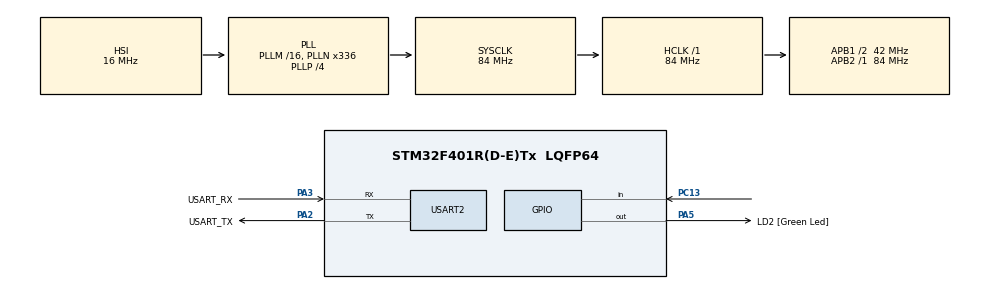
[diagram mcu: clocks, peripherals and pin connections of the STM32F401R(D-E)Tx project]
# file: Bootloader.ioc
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Mcu.Family=STM32F4
Mcu.Name=STM32F401R(D-E)Tx
Mcu.Package=LQFP64
NVIC.PriorityGroup=NVIC_PRIORITYGROUP_4
PA13.GPIO_Label=TMS
PA13.Mode=Serial_Wire
PA13.Signal=SYS_JTMS-SWDIO
PA14.GPIO_Label=TCK
PA14.Mode=Serial_Wire
PA14.Signal=SYS_JTCK-SWCLK
PA2.GPIO_Label=USART_TX
PA2.GPIO_Mode=GPIO_MODE_AF_PP
PA2.GPIO_PuPd=GPIO_NOPULL
PA2.GPIO_Speed=GPIO_SPEED_FREQ_LOW
PA2.Mode=Asynchronous
PA2.Signal=USART2_TX
PA3.GPIO_Label=USART_RX
PA3.GPIO_Mode=GPIO_MODE_AF_PP
PA3.GPIO_PuPd=GPIO_NOPULL
PA3.GPIO_Speed=GPIO_SPEED_FREQ_LOW
PA3.Mode=Asynchronous
PA3.Signal=USART2_RX
PA5.GPIO_Label=LD2 [Green Led]
PA5.GPIO_Mode=GPIO_MODE_OUTPUT_PP
PA5.GPIO_PuPd=GPIO_NOPULL
PA5.GPIO_Speed=GPIO_SPEED_FREQ_LOW
PA5.Signal=GPIO_Output
PB3.GPIO_Label=SWO
PB3.Signal=SYS_JTDO-SWO
PC13-ANTI_TAMP.Signal=GPIO_Input
PC14-OSC32_IN.Mode=LSE-External-Oscillator
PC14-OSC32_IN.Signal=RCC_OSC32_IN
PC15-OSC32_OUT.Mode=LSE-External-Oscillator
PC15-OSC32_OUT.Signal=RCC_OSC32_OUT
PH0\ -\ OSC_IN.Mode=HSE-External-Clock-Source
PH0\ -\ OSC_IN.Signal=RCC_OSC_IN
PH1\ -\ OSC_OUT.Mode=HSE-External-Clock-Source
PH1\ -\ OSC_OUT.Signal=RCC_OSC_OUT
ProjectManager.HeapSize=0x200
ProjectManager.StackSize=0x400
ProjectManager.TargetToolchain=STM32CubeIDE
RCC.48MHZClocksFreq_Value=48000000
RCC.AHBFreq_Value=84000000
RCC.APB1CLKDivider=RCC_HCLK_DIV2
RCC.APB1Freq_Value=42000000
RCC.APB1TimFreq_Value=84000000
RCC.APB2Freq_Value=84000000
RCC.APB2TimFreq_Value=84000000
RCC.CortexFreq_Value=84000000
RCC.HCLKFreq_Value=84000000
RCC.HSE_VALUE=8000000
RCC.HSI_VALUE=16000000
RCC.PLLN=336
RCC.PLLP=RCC_PLLP_DIV4
RCC.PLLQ=7
RCC.SYSCLKFreq_VALUE=84000000
RCC.SYSCLKSource=RCC_SYSCLKSOURCE_PLLCLK
RCC.VCOOutputFreq_Value=336000000
USART2.VirtualMode=VM_ASYNC
board=NUCLEO-F401RE

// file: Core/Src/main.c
/* USER CODE BEGIN Header */
/**
  ******************************************************************************
  * @file           : main.c
  * @brief          : Main program body - A/B bootloader with CRC update check
  ******************************************************************************
  */
/* USER CODE END Header */

#include "main.h"
#include <stdio.h>
#include <string.h>
#include "boot_jump.h"
#include "flash_if.h"
#include "metadata_if.h"
#include "crc_if.h"

UART_HandleTypeDef huart2;

void SystemClock_Config(void);
static void MX_GPIO_Init(void);
static void MX_USART2_UART_Init(void);

/* USER CODE BEGIN 0 */

int __io_putchar(int ch)
{
    HAL_UART_Transmit(&huart2, (uint8_t *)&ch, 1, HAL_MAX_DELAY);
    return ch;
}

static uint8_t is_user_button_pressed(void)
{
    return HAL_GPIO_ReadPin(GPIOC, GPIO_PIN_13) == GPIO_PIN_RESET;
}

static uint32_t read_u32_le(uint8_t *bytes)
{
    return  ((uint32_t)bytes[0]) |
            ((uint32_t)bytes[1] << 8) |
            ((uint32_t)bytes[2] << 16) |
            ((uint32_t)bytes[3] << 24);
}

static uint8_t is_valid_stack_pointer(uint32_t sp)
{
    return (sp >= 0x20000000U && sp <= 0x20018000U);
}

static uint8_t is_valid_reset_vector_for_slot(uint32_t reset_vector,
                                              uint32_t slot_address,
                                              uint32_t slot_size)
{
    return (reset_vector >= slot_address &&
            reset_vector < (slot_address + slot_size));
}

static void print_metadata(void)
{
    boot_metadata_t metadata;

    Metadata_Read(&metadata);

    if (!Metadata_IsValid(&metadata))
    {
        printf("Metadata: INVALID / EMPTY\r\n");
        return;
    }

    printf("Metadata: VALID\r\n");
    printf("Active slot: %s\r\n", Metadata_SlotName(metadata.active_slot));
    printf("Slot A state: %s\r\n", Metadata_StateName(metadata.slot_a_state));
    printf("Slot B state: %s\r\n", Metadata_StateName(metadata.slot_b_state));
    printf("Slot A size: %lu bytes\r\n", metadata.slot_a_size);
    printf("Slot B size: %lu bytes\r\n", metadata.slot_b_size);
    printf("Boot attempts: %lu\r\n", metadata.boot_attempts);
}

static void handle_update_command(uint8_t fixed_slot_mode, uint32_t fixed_slot)
{
    boot_metadata_t metadata;

    uint8_t size_bytes[4];
    uint8_t crc_bytes[4];

    uint32_t file_size = 0;
    uint32_t expected_crc = 0;
    uint32_t actual_crc = 0;

    uint32_t received = 0;
    uint8_t buffer[128];

    uint32_t target_slot = 0;
    uint32_t target_address = 0;
    uint32_t target_size = 0;

    uint32_t first_word = 0;
    uint32_t reset_vector = 0;

    uint8_t failed = 0;

    Metadata_Read(&metadata);

    if (!Metadata_IsValid(&metadata))
    {
        printf("Metadata invalid. Initializing default metadata...\r\n");

        if (Metadata_InitDefault() != HAL_OK)
        {
            printf("Metadata init failed\r\n");
            failed = 1;
        }

        Metadata_Read(&metadata);
    }

    if (!failed)
    {
        printf("Current active slot: %s\r\n", Metadata_SlotName(metadata.active_slot));

        if (fixed_slot_mode)
        {
            target_slot = fixed_slot;
        }
        else
        {
            if (metadata.active_slot == BOOT_SLOT_A)
            {
                target_slot = BOOT_SLOT_B;
            }
            else if (metadata.active_slot == BOOT_SLOT_B)
            {
                target_slot = BOOT_SLOT_A;
            }
            else
            {
                printf("Invalid active slot in metadata\r\n");
                failed = 1;
            }
        }
    }

    if (!failed)
    {
        if (target_slot == BOOT_SLOT_A)
        {
            target_address = SLOT_A_ADDRESS;
            target_size = SLOT_A_SIZE;
            printf("Target update slot: SLOT_A\r\n");
        }
        else if (target_slot == BOOT_SLOT_B)
        {
            target_address = SLOT_B_ADDRESS;
            target_size = SLOT_B_SIZE;
            printf("Target update slot: SLOT_B\r\n");
        }
        else
        {
            printf("Invalid target slot\r\n");
            failed = 1;
        }
    }

    if (!failed)
    {
        printf("Send file size as 4 bytes...\r\n");

        if (HAL_UART_Receive(&huart2, size_bytes, 4, HAL_MAX_DELAY) != HAL_OK)
        {
            printf("Failed to receive file size\r\n");
            failed = 1;
        }
        else
        {
            file_size = read_u32_le(size_bytes);

            printf("Received file size: %lu bytes\r\n", file_size);

            if (file_size == 0 || file_size > target_size)
            {
                printf("Invalid file size\r\n");
                failed = 1;
            }
        }
    }

    if (!failed)
    {
        printf("Send expected CRC32 as 4 bytes...\r\n");

        if (HAL_UART_Receive(&huart2, crc_bytes, 4, HAL_MAX_DELAY) != HAL_OK)
        {
            printf("Failed to receive CRC32\r\n");
            failed = 1;
        }
        else
        {
            expected_crc = read_u32_le(crc_bytes);
            printf("Expected CRC32: 0x%08lX\r\n", expected_crc);
        }
    }

    if (!failed)
    {
        if (target_slot == BOOT_SLOT_A)
        {
            printf("Erasing Slot A...\r\n");

            if (Flash_Erase_Slot_A() != HAL_OK)
            {
                printf("Slot A erase failed\r\n");
                failed = 1;
            }
            else
            {
                printf("Slot A erase OK\r\n");
            }
        }
        else if (target_slot == BOOT_SLOT_B)
        {
            printf("Erasing Slot B...\r\n");

            if (Flash_Erase_Slot_B() != HAL_OK)
            {
                printf("Slot B erase failed\r\n");
                failed = 1;
            }
            else
            {
                printf("Slot B erase OK\r\n");
            }
        }
    }

    if (!failed)
    {
        printf("Receiving and writing firmware...\r\n");
    }

    while (!failed && received < file_size)
    {
        uint32_t remaining = file_size - received;
        uint32_t chunk_size = remaining;

        if (chunk_size > sizeof(buffer))
        {
            chunk_size = sizeof(buffer);
        }

        if (HAL_UART_Receive(&huart2, buffer, chunk_size, HAL_MAX_DELAY) != HAL_OK)
        {
            printf("UART receive failed\r\n");
            failed = 1;
            break;
        }

        if (Flash_Write_Buffer(target_address + received, buffer, chunk_size) != HAL_OK)
        {
            printf("Flash write failed at 0x%08lX\r\n", target_address + received);
            failed = 1;
            break;
        }

        received += chunk_size;

        if ((received % 1024U) == 0 || received == file_size)
        {
            printf("Written %lu / %lu bytes\r\n", received, file_size);
        }
    }

    if (!failed && received == file_size)
    {
        printf("Firmware write complete\r\n");

        first_word = *(volatile uint32_t *)target_address;
        reset_vector = *(volatile uint32_t *)(target_address + 4U);

        printf("Target slot: %s\r\n", Metadata_SlotName(target_slot));
        printf("Target address: 0x%08lX\r\n", target_address);
        printf("First word:   0x%08lX\r\n", first_word);
        printf("Reset vector: 0x%08lX\r\n", reset_vector);

        if (!is_valid_stack_pointer(first_word))
        {
            printf("Invalid stack pointer. Update rejected.\r\n");
            failed = 1;
        }

        if (!failed && !is_valid_reset_vector_for_slot(reset_vector, target_address, target_size))
        {
            printf("Invalid reset vector for target slot. Update rejected.\r\n");
            failed = 1;
        }
    }

    if (!failed && received == file_size)
    {
        printf("Calculating CRC from flash...\r\n");

        actual_crc = CRC32_Calculate_Flash(target_address, file_size);

        printf("Actual CRC32:   0x%08lX\r\n", actual_crc);
        printf("Expected CRC32: 0x%08lX\r\n", expected_crc);

        if (actual_crc != expected_crc)
        {
            printf("CRC MISMATCH\r\n");
            printf("Update rejected. Metadata not changed.\r\n");
            failed = 1;
        }
        else
        {
            printf("CRC OK\r\n");
        }
    }

    if (!failed && received == file_size)
    {
        if (target_slot == BOOT_SLOT_A)
        {
            printf("Updating metadata: Slot A = PENDING_TEST, active_slot = A\r\n");

            if (Metadata_MarkSlotAPending(file_size) == HAL_OK)
            {
                printf("Metadata update OK\r\n");
                print_metadata();
                printf("UPDATE PASSED\r\n");
            }
            else
            {
                printf("Metadata update FAILED\r\n");
                printf("UPDATE FAILED\r\n");
            }
        }
        else if (target_slot == BOOT_SLOT_B)
        {
            printf("Updating metadata: Slot B = PENDING_TEST, active_slot = B\r\n");

            if (Metadata_MarkSlotBPending(file_size) == HAL_OK)
            {
                printf("Metadata update OK\r\n");
                print_metadata();
                printf("UPDATE PASSED\r\n");
            }
            else
            {
                printf("Metadata update FAILED\r\n");
                printf("UPDATE FAILED\r\n");
            }
        }
    }
    else
    {
        printf("UPDATE FAILED\r\n");
    }
}

static void bootloader_uart_command_loop(void)
{
    uint8_t rx;
    char cmd[32];
    uint32_t index = 0;

    printf("BOOTLOADER MODE ACTIVE\r\n");
    printf("Commands: ping, info, metainfo, metainit, flashtest, recvtest, writetest, recvfile, update, updateb, jump\r\n");
    printf("> ");

    while (1)
    {
        if (HAL_UART_Receive(&huart2, &rx, 1, HAL_MAX_DELAY) == HAL_OK)
        {
            HAL_UART_Transmit(&huart2, &rx, 1, HAL_MAX_DELAY);

            if (rx == '\r' || rx == '\n')
            {
                cmd[index] = '\0';
                printf("\r\n");

                if (strcmp(cmd, "ping") == 0)
                {
                    printf("pong\r\n");
                }
                else if (strcmp(cmd, "info") == 0)
                {
                    printf("Bootloader: STM32F401RE custom bootloader\r\n");
                    printf("Bootloader address: 0x08000000\r\n");
                    printf("Bootloader size: 64 KB\r\n");
                    printf("Metadata address: 0x08010000\r\n");
                    printf("App Slot A address: 0x08020000\r\n");
                    printf("App Slot A size: 128 KB\r\n");
                    printf("App Slot B address: 0x08040000\r\n");
                    printf("App Slot B size: 128 KB\r\n");
                    printf("CRC check: ENABLED\r\n");
                }
                else if (strcmp(cmd, "metainfo") == 0)
                {
                    print_metadata();
                }
                else if (strcmp(cmd, "metainit") == 0)
                {
                    printf("Initializing default metadata...\r\n");

                    if (Metadata_InitDefault() == HAL_OK)
                    {
                        printf("Metadata init OK\r\n");
                        print_metadata();
                    }
                    else
                    {
                        printf("Metadata init FAILED\r\n");
                    }
                }
                else if (strcmp(cmd, "flashtest") == 0)
                {
                    uint32_t read_value;

                    printf("Erasing test sector...\r\n");

                    if (Flash_Erase_Test_Sector() != HAL_OK)
                    {
                        printf("Erase failed\r\n");
                    }
                    else
                    {
                        printf("Erase OK\r\n");
                        printf("Writing test word...\r\n");

                        if (Flash_Write_Word(FLASH_TEST_ADDRESS, FLASH_TEST_VALUE) != HAL_OK)
                        {
                            printf("Write failed\r\n");
                        }
                        else
                        {
                            printf("Write OK\r\n");

                            read_value = Flash_Read_Word(FLASH_TEST_ADDRESS);

                            printf("Read back: 0x%08lX\r\n", read_value);

                            if (read_value == FLASH_TEST_VALUE)
                            {
                                printf("Flash test PASSED\r\n");
                            }
                            else
                            {
                                printf("Flash test FAILED\r\n");
                            }
                        }
                    }
                }
                else if (strcmp(cmd, "recvtest") == 0)
                {
                    uint8_t buffer[16];

                    printf("Send 16 bytes now...\r\n");

                    if (HAL_UART_Receive(&huart2, buffer, 16, HAL_MAX_DELAY) == HAL_OK)
                    {
                        printf("\r\nReceived 16 bytes\r\n");
                        printf("Data:\r\n");

                        for (int i = 0; i < 16; i++)
                        {
                            printf("%02X ", buffer[i]);
                        }

                        printf("\r\nReceive test PASSED\r\n");
                    }
                    else
                    {
                        printf("\r\nReceive test FAILED\r\n");
                    }
                }
                else if (strcmp(cmd, "writetest") == 0)
                {
                    uint8_t buffer[16];

                    printf("Erasing test sector...\r\n");

                    if (Flash_Erase_Test_Sector() != HAL_OK)
                    {
                        printf("Erase failed\r\n");
                    }
                    else
                    {
                        printf("Erase OK\r\n");
                        printf("Send 16 bytes now...\r\n");

                        if (HAL_UART_Receive(&huart2, buffer, 16, HAL_MAX_DELAY) != HAL_OK)
                        {
                            printf("\r\nReceive failed\r\n");
                        }
                        else
                        {
                            printf("\r\nWriting received bytes to flash...\r\n");

                            if (Flash_Write_Buffer(FLASH_TEST_ADDRESS, buffer, 16) != HAL_OK)
                            {
                                printf("Write failed\r\n");
                            }
                            else
                            {
                                uint8_t passed = 1;

                                printf("Write OK\r\n");
                                printf("Reading back from flash:\r\n");

                                for (int i = 0; i < 16; i++)
                                {
                                    uint8_t flash_byte = *(volatile uint8_t *)(FLASH_TEST_ADDRESS + i);

                                    printf("%02X ", flash_byte);

                                    if (flash_byte != buffer[i])
                                    {
                                        passed = 0;
                                    }
                                }

                                printf("\r\n");

                                if (passed)
                                {
                                    printf("Write test PASSED\r\n");
                                }
                                else
                                {
                                    printf("Write test FAILED\r\n");
                                }
                            }
                        }
                    }
                }
                else if (strcmp(cmd, "recvfile") == 0)
                {
                    uint8_t size_bytes[4];
                    uint32_t file_size = 0;
                    uint32_t received = 0;
                    uint8_t buffer[128];

                    printf("Send file size as 4 bytes...\r\n");

                    if (HAL_UART_Receive(&huart2, size_bytes, 4, HAL_MAX_DELAY) != HAL_OK)
                    {
                        printf("Failed to receive file size\r\n");
                    }
                    else
                    {
                        file_size = read_u32_le(size_bytes);

                        printf("Received file size: %lu bytes\r\n", file_size);

                        if (file_size == 0 || file_size > (128U * 1024U))
                        {
                            printf("Invalid file size\r\n");
                        }
                        else
                        {
                            printf("Receiving file...\r\n");

                            while (received < file_size)
                            {
                                uint32_t remaining = file_size - received;
                                uint32_t chunk_size = remaining;

                                if (chunk_size > sizeof(buffer))
                                {
                                    chunk_size = sizeof(buffer);
                                }

                                if (HAL_UART_Receive(&huart2, buffer, chunk_size, HAL_MAX_DELAY) != HAL_OK)
                                {
                                    printf("Receive failed\r\n");
                                    break;
                                }

                                received += chunk_size;

                                if ((received % 1024U) == 0 || received == file_size)
                                {
                                    printf("Received %lu / %lu bytes\r\n", received, file_size);
                                }
                            }

                            if (received == file_size)
                            {
                                printf("File receive test PASSED\r\n");
                            }
                            else
                            {
                                printf("File receive test FAILED\r\n");
                            }
                        }
                    }
                }
                else if (strcmp(cmd, "update") == 0)
                {
                    handle_update_command(0, 0);
                }
                else if (strcmp(cmd, "updateb") == 0)
                {
                    /*
                     * Legacy command.
                     * Still supported, but now it also expects CRC32.
                     */
                    handle_update_command(1, BOOT_SLOT_B);
                }
                else if (strcmp(cmd, "jump") == 0)
                {
                    printf("Jumping to app...\r\n");
                    HAL_Delay(200);

                    jump_to_app();

                    printf("Jump failed\r\n");
                }
                else if (index > 0)
                {
                    printf("Unknown command: %s\r\n", cmd);
                }

                index = 0;
                memset(cmd, 0, sizeof(cmd));
                printf("> ");
            }
            else if (rx == '\b' || rx == 127)
            {
                if (index > 0)
                {
                    index--;
                    cmd[index] = '\0';
                    printf(" \b");
                }
            }
            else
            {
                if (index < sizeof(cmd) - 1)
                {
                    cmd[index++] = rx;
                }
                else
                {
                    index = 0;
                    memset(cmd, 0, sizeof(cmd));
                    printf("\r\nCommand too long\r\n> ");
                }
            }
        }
    }
}

static void boot_selected_slot(void)
{
    boot_metadata_t metadata;

    Metadata_Read(&metadata);

    if (!Metadata_IsValid(&metadata))
    {
        printf("Metadata invalid, booting Slot A by default\r\n");
        HAL_Delay(300);
        jump_to_address(SLOT_A_ADDRESS);

        printf("Slot A jump failed\r\n");
        return;
    }

    printf("Metadata valid\r\n");
    printf("Active slot: %s\r\n", Metadata_SlotName(metadata.active_slot));
    printf("Slot A state: %s\r\n", Metadata_StateName(metadata.slot_a_state));
    printf("Slot B state: %s\r\n", Metadata_StateName(metadata.slot_b_state));
    printf("Boot attempts: %lu\r\n", metadata.boot_attempts);

    if (metadata.active_slot == BOOT_SLOT_A)
    {
        if (metadata.slot_a_state == SLOT_STATE_PENDING_TEST)
        {
            if (metadata.boot_attempts == 0)
            {
                printf("Slot A is PENDING_TEST. First boot attempt.\r\n");
                printf("Setting boot_attempts = 1\r\n");

                Metadata_SetBootAttempts(1);

                HAL_Delay(300);
                jump_to_address(SLOT_A_ADDRESS);

                printf("Slot A jump failed\r\n");
            }
            else
            {
                printf("Slot A pending test failed. Rolling back...\r\n");

                if (Metadata_RollbackFromPending() == HAL_OK)
                {
                    printf("Rollback metadata update OK\r\n");
                }
                else
                {
                    printf("Rollback metadata update FAILED\r\n");
                }

                Metadata_Read(&metadata);
                print_metadata();

                if (metadata.active_slot == BOOT_SLOT_B &&
                    metadata.slot_b_state == SLOT_STATE_VALID)
                {
                    printf("Booting rollback Slot B\r\n");
                    HAL_Delay(300);
                    jump_to_address(SLOT_B_ADDRESS);

                    printf("Slot B jump failed\r\n");
                }
            }
        }
        else if (metadata.slot_a_state == SLOT_STATE_VALID)
        {
            printf("Booting valid Slot A\r\n");
            HAL_Delay(300);
            jump_to_address(SLOT_A_ADDRESS);

            printf("Slot A jump failed\r\n");
        }
        else
        {
            printf("Slot A is not bootable. Trying Slot B...\r\n");

            if (metadata.slot_b_state == SLOT_STATE_VALID)
            {
                HAL_Delay(300);
                jump_to_address(SLOT_B_ADDRESS);

                printf("Slot B jump failed\r\n");
            }
        }
    }
    else if (metadata.active_slot == BOOT_SLOT_B)
    {
        if (metadata.slot_b_state == SLOT_STATE_PENDING_TEST)
        {
            if (metadata.boot_attempts == 0)
            {
                printf("Slot B is PENDING_TEST. First boot attempt.\r\n");
                printf("Setting boot_attempts = 1\r\n");

                Metadata_SetBootAttempts(1);

                HAL_Delay(300);
                jump_to_address(SLOT_B_ADDRESS);

                printf("Slot B jump failed\r\n");
            }
            else
            {
                printf("Slot B pending test failed. Rolling back...\r\n");

                if (Metadata_RollbackFromPending() == HAL_OK)
                {
                    printf("Rollback metadata update OK\r\n");
                }
                else
                {
                    printf("Rollback metadata update FAILED\r\n");
                }

                Metadata_Read(&metadata);
                print_metadata();

                if (metadata.active_slot == BOOT_SLOT_A &&
                    metadata.slot_a_state == SLOT_STATE_VALID)
                {
                    printf("Booting rollback Slot A\r\n");
                    HAL_Delay(300);
                    jump_to_address(SLOT_A_ADDRESS);

                    printf("Slot A jump failed\r\n");
                }
            }
        }
        else if (metadata.slot_b_state == SLOT_STATE_VALID)
        {
            printf("Booting valid Slot B\r\n");
            HAL_Delay(300);
            jump_to_address(SLOT_B_ADDRESS);

            printf("Slot B jump failed\r\n");
        }
        else
        {
            printf("Slot B is not bootable. Trying Slot A...\r\n");

            if (metadata.slot_a_state == SLOT_STATE_VALID)
            {
                HAL_Delay(300);
                jump_to_address(SLOT_A_ADDRESS);

                printf("Slot A jump failed\r\n");
            }
        }
    }
    else
    {
        printf("Invalid active slot. Booting Slot A by default.\r\n");
        HAL_Delay(300);
        jump_to_address(SLOT_A_ADDRESS);

        printf("Slot A jump failed\r\n");
    }
}

/* USER CODE END 0 */

int main(void)
{
  HAL_Init();

  SystemClock_Config();

  MX_GPIO_Init();
  MX_USART2_UART_Init();

  /* USER CODE BEGIN 2 */

  HAL_Delay(500);

  printf("\r\nBOOTLOADER START\r\n");

  if (is_user_button_pressed())
  {
      printf("User button pressed during reset\r\n");
      printf("Entering UART bootloader mode\r\n");
      bootloader_uart_command_loop();
  }
  else
  {
      printf("No button press detected\r\n");
      printf("Booting selected slot from metadata\r\n");

      HAL_Delay(500);

      boot_selected_slot();

      printf("BOOT SELECT FAILED\r\n");
  }

  /* USER CODE END 2 */

  while (1)
  {
      HAL_GPIO_TogglePin(GPIOA, GPIO_PIN_5);
      printf("NO VALID APP FOUND\r\n");
      HAL_Delay(1000);
  }
}

void SystemClock_Config(void)
{
  RCC_OscInitTypeDef RCC_OscInitStruct = {0};
  RCC_ClkInitTypeDef RCC_ClkInitStruct = {0};

  __HAL_RCC_PWR_CLK_ENABLE();
  __HAL_PWR_VOLTAGESCALING_CONFIG(PWR_REGULATOR_VOLTAGE_SCALE2);

  RCC_OscInitStruct.OscillatorType = RCC_OSCILLATORTYPE_HSI;
  RCC_OscInitStruct.HSIState = RCC_HSI_ON;
  RCC_OscInitStruct.HSICalibrationValue = RCC_HSICALIBRATION_DEFAULT;
  RCC_OscInitStruct.PLL.PLLState = RCC_PLL_ON;
  RCC_OscInitStruct.PLL.PLLSource = RCC_PLLSOURCE_HSI;
  RCC_OscInitStruct.PLL.PLLM = 16;
  RCC_OscInitStruct.PLL.PLLN = 336;
  RCC_OscInitStruct.PLL.PLLP = RCC_PLLP_DIV4;
  RCC_OscInitStruct.PLL.PLLQ = 7;

  if (HAL_RCC_OscConfig(&RCC_OscInitStruct) != HAL_OK)
  {
    Error_Handler();
  }

  RCC_ClkInitStruct.ClockType = RCC_CLOCKTYPE_HCLK |
                                RCC_CLOCKTYPE_SYSCLK |
                                RCC_CLOCKTYPE_PCLK1 |
                                RCC_CLOCKTYPE_PCLK2;

  RCC_ClkInitStruct.SYSCLKSource = RCC_SYSCLKSOURCE_PLLCLK;
  RCC_ClkInitStruct.AHBCLKDivider = RCC_SYSCLK_DIV1;
  RCC_ClkInitStruct.APB1CLKDivider = RCC_HCLK_DIV2;
  RCC_ClkInitStruct.APB2CLKDivider = RCC_HCLK_DIV1;

  if (HAL_RCC_ClockConfig(&RCC_ClkInitStruct, FLASH_LATENCY_2) != HAL_OK)
  {
    Error_Handler();
  }
}

static void MX_USART2_UART_Init(void)
{
  huart2.Instance = USART2;
  huart2.Init.BaudRate = 115200;
  huart2.Init.WordLength = UART_WORDLENGTH_8B;
  huart2.Init.StopBits = UART_STOPBITS_1;
  huart2.Init.Parity = UART_PARITY_NONE;
  huart2.Init.Mode = UART_MODE_TX_RX;
  huart2.Init.HwFlowCtl = UART_HWCONTROL_NONE;
  huart2.Init.OverSampling = UART_OVERSAMPLING_16;

  if (HAL_UART_Init(&huart2) != HAL_OK)
  {
    Error_Handler();
  }
}

static void MX_GPIO_Init(void)
{
  GPIO_InitTypeDef GPIO_InitStruct = {0};

  __HAL_RCC_GPIOC_CLK_ENABLE();
  __HAL_RCC_GPIOH_CLK_ENABLE();
  __HAL_RCC_GPIOA_CLK_ENABLE();
  __HAL_RCC_GPIOB_CLK_ENABLE();

  HAL_GPIO_WritePin(LD2_GPIO_Port, LD2_Pin, GPIO_PIN_RESET);

  GPIO_InitStruct.Pin = GPIO_PIN_13;
  GPIO_InitStruct.Mode = GPIO_MODE_INPUT;
  GPIO_InitStruct.Pull = GPIO_NOPULL;
  HAL_GPIO_Init(GPIOC, &GPIO_InitStruct);

  GPIO_InitStruct.Pin = LD2_Pin;
  GPIO_InitStruct.Mode = GPIO_MODE_OUTPUT_PP;
  GPIO_InitStruct.Pull = GPIO_NOPULL;
  GPIO_InitStruct.Speed = GPIO_SPEED_FREQ_LOW;
  HAL_GPIO_Init(LD2_GPIO_Port, &GPIO_InitStruct);
}

void Error_Handler(void)
{
  __disable_irq();

  while (1)
  {
      HAL_GPIO_TogglePin(GPIOA, GPIO_PIN_5);
      HAL_Delay(100);
  }
}
